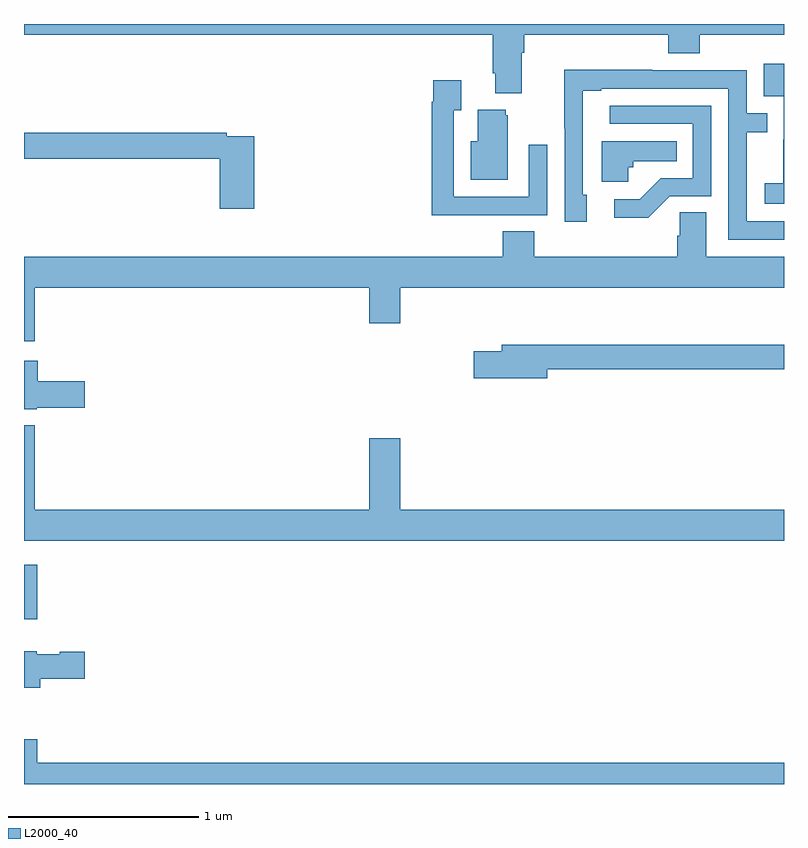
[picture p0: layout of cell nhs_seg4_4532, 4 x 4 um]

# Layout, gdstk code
import gdstk
lib = gdstk.Library(unit=1e-6, precision=1e-09)
def R(c, l, rs):  # rectangles x0, y0, x1, y1
    for r in rs: c.add(gdstk.rectangle(r[:2], r[2:], *l))
def P(c, l, *ps):  # polygons
    for p in ps: c.add(gdstk.Polygon(p, *l))
L2000_40 = (2000, 40)

nhs_seg4_4532 = lib.new_cell('nhs_seg4_4532')
R(nhs_seg4_4532, L2000_40, [(355,769.766,355.07,770.053)])
P(nhs_seg4_4532, L2000_40, [(357.619,772.748),(357.632,772.748),(357.632,772.844),(358.391,772.844),(358.391,772.745),(358.556,772.745),(358.556,772.844),(359,772.844),(359,772.9),(355,772.9),(355,772.844),(357.467,772.844),(357.467,772.642),(357.479,772.642),(357.479,772.535),(357.619,772.535)],
  [(359,772.69),(358.893,772.69),(358.893,772.521),(358.998,772.521),(358.998,772.292),(358.997,772.292),(358.997,772.063),(358.899,772.063),(358.899,771.953),(359,771.953)],
  [(359,771.861),(358.803,771.861),(358.803,772.33),(358.913,772.33),(358.913,772.431),(358.803,772.431),(358.803,772.656),(358.307,772.656),(358.307,772.658),(357.844,772.658),(357.844,772.351),(357.846,772.351),(357.846,771.858),(357.961,771.858),(357.961,772.002),(357.942,772.002),(357.942,772.548),(358.039,772.548),(358.039,772.56),(358.707,772.56),(358.707,771.765),(359,771.765)],
  [(357.437,771.894),(357.753,771.894),(357.753,772.264),(357.657,772.264),(357.657,771.99),(357.261,771.99),(357.261,772.447),(357.301,772.447),(357.301,772.603),(357.153,772.603),(357.153,772.49),(357.145,772.49),(357.145,771.893),(357.437,771.893)],
  [(358.398,771.993),(358.617,771.993),(358.617,772.47),(358.083,772.47),(358.083,772.374),(358.521,772.374),(358.521,772.089),(358.352,772.089),(358.241,771.978),(358.107,771.978),(358.107,771.881),(358.285,771.881)],
  [(357.547,772.419),(357.536,772.419),(357.536,772.45),(357.389,772.45),(357.389,772.282),(357.35,772.282),(357.35,772.079),(357.547,772.079)],
  [(356.213,772.308),(356.066,772.308),(356.066,772.328),(355,772.328),(355,772.192),(356.03,772.192),(356.03,771.927),(356.213,771.927)],
  [(358.179,772.146),(358.206,772.146),(358.206,772.178),(358.436,772.178),(358.436,772.282),(358.04,772.282),(358.04,772.07),(358.179,772.07)],
  [(355.057,771.512),(356.816,771.512),(356.816,771.324),(356.98,771.324),(356.98,771.512),(359,771.512),(359,771.676),(358.591,771.676),(358.591,771.908),(358.452,771.908),(358.452,771.785),(358.439,771.785),(358.439,771.676),(357.686,771.676),(357.686,771.809),(357.521,771.809),(357.521,771.676),(355,771.676),(355,771.231),(355.057,771.231)],
  [(357.754,771.082),(359,771.082),(359,771.211),(357.515,771.211),(357.515,771.177),(357.366,771.177),(357.366,771.035),(357.754,771.035)],
  [(355.068,770.879),(355.321,770.879),(355.321,771.021),(355.072,771.021),(355.072,771.127),(355,771.127),(355,770.873),(355.068,770.873)],
  [(359,770.344),(356.98,770.344),(356.98,770.719),(356.816,770.719),(356.816,770.344),(355.057,770.344),(355.057,770.788),(355,770.788),(355,770.18),(359,770.18)],
  [(355.085,769.453),(355.321,769.453),(355.321,769.595),(355.188,769.595),(355.188,769.582),(355.068,769.582),(355.068,769.6),(355,769.6),(355,769.406),(355.085,769.406)],
  [(359,769.012),(355.07,769.012),(355.07,769.136),(355,769.136),(355,768.9),(359,768.9)])

lib.write_gds('nhs_seg4_4532.gds')
